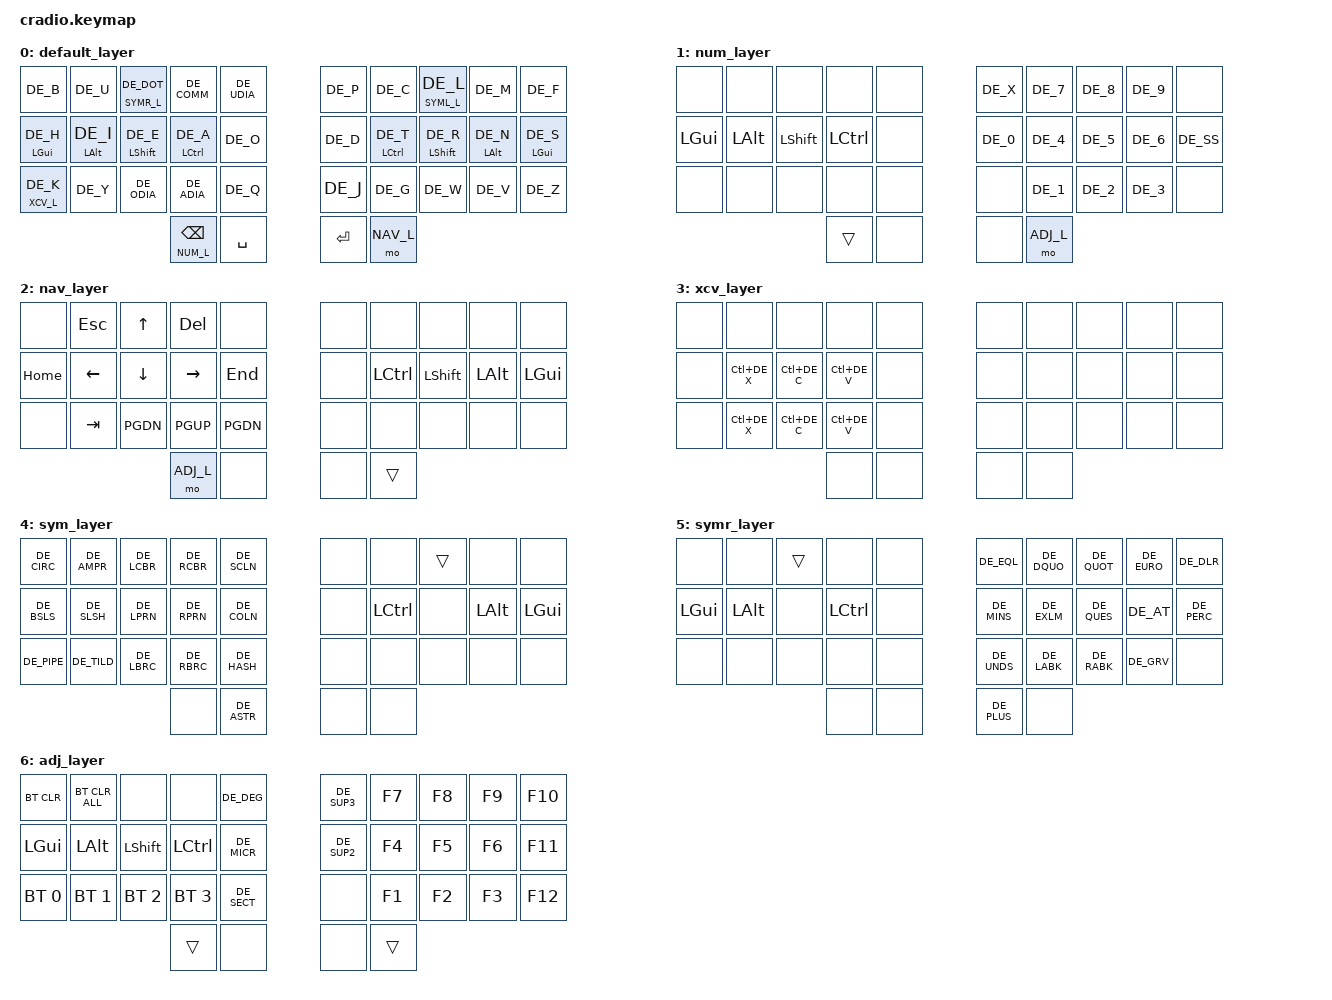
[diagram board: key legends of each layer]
/*
 * Copyright (c) 2023 Jan Titze
 *
 * SPDX-License-Identifier: MIT
 */

#include <behaviors.dtsi>
#include <dt-bindings/zmk/keys.h>
#include <dt-bindings/zmk/bt.h>

#include "./international/codes_german.h"

// Defines for readability
#define _______ &trans
#define XXXXXXX &none

// Defines for layers
#define BASE_L  0 //_BASE,
#define NUM_L   1 //_NUMBERS,
#define NAV_L   2 //_NAVIGATION
#define XCV_L   3 //_XCV
#define SYML_L  4 //_SYMBOLS Lefthand
#define SYMR_L  5 //_SYMBOLS Righthand
#define ADJ_L   6 //_ADJUST

// Defines for keypositions to enhance readability of combos
#define INDEX_L     13
#define MIDDLE_L    12
#define RING_L      11
#define PINKY_L     10
#define INDEX_R     16
#define MIDDLE_R    17
#define RING_R      18
#define PINKY_R     19

#define THUMB_1     30
#define THUMB_2     31
#define THUMB_3     32
#define THUMB_4     33

/*   34 KEY MATRIX / LAYOUT MAPPING
    ╭────────────────────┬────────────────────╮
    │  0   1   2   3   4 │  5   6   7   8   9 │
    │ 10  11  12  13  14 │ 15  16  17  18  19 │
    │ 20  21  22  23  24 │ 25  26  27  28  29 │
    ╰───────────╮ 30  31 │ 32  33 ╭───────────╯
                ╰────────┴────────╯             */

                
// Using layer taps on thumbs, having quick tap as well helps w/ repeating space/backspace
&lt { 
    quick_tap_ms = <200>; 
    tapping-term-ms = <150>;
    flavor = "balanced";
};

&sk {
    release-after-ms = <2000>;
    quick-release;
    /delete-property/ ignore-modifiers;
};

&mt {
    tapping-term-ms = <200>;
};

/ {
    combos {
        compatible = "zmk,combos";

        // &caps_word on shift keys
        combo_caps_word { 
            timeout-ms = <60>;
            key-positions = <2 7>;
            bindings = <&caps_word>;
            require-prior-idle-ms = <200>;
        };
    };

    behaviors {
        // https://zmk.dev/docs/behaviors/hold-tap#positional-hold-tap-and-hold-trigger-key-positions 
        // require-prior-idle-md = modifier kommen nur, wenn vorher eine kurze Pause ist.

        lts: layer_tap_with_long_idle { // layer tap instant
            compatible = "zmk,behavior-hold-tap";
            #binding-cells = <2>;
            flavor = "tap-preferred"; // 'hold-preferred', 'balanced', 'tap-preferred'
            tapping-term-ms = <300>;
            quick-tap-ms = <200>;
            require-prior-idle-ms = <350>;
            bindings = <&mo>, <&kp>;
        };
        stl: positional_shift_tap_left {
            compatible = "zmk,behavior-hold-tap";
            #binding-cells = <2>;
            flavor = "balanced"; // 'hold-preferred', 'balanced', 'tap-preferred'
            tapping-term-ms = <150>;
            quick-tap-ms = <200>;
            bindings = <&kp>, <&kp>;
            hold-trigger-key-positions = <5 6 7 8 9 15 16 17 18 19 25 26 27 28 29 32 33>;    // <---[[the righthand keys]]
        };
        str: positional_shift_tap_right {
            compatible = "zmk,behavior-hold-tap";
            #binding-cells = <2>;
            flavor = "balanced"; // 'hold-preferred', 'balanced', 'tap-preferred'
            tapping-term-ms = <150>;
            quick-tap-ms = <200>;
            bindings = <&kp>, <&kp>;
            hold-trigger-key-positions = <0 1 2 3 4 10 11 12 13 14 20 21 22 23 24 30 31>;    // <---[[the lefthand keys]]
        };
        mtl: positional_mod_tap_left {
            compatible = "zmk,behavior-hold-tap";
            #binding-cells = <2>;
            flavor = "balanced"; // 'hold-preferred', 'balanced', 'tap-preferred'
            tapping-term-ms = <180>;
            quick-tap-ms = <200>;
            require-prior-idle-ms = <120>;
            bindings = <&mo>, <&kp>;
            hold-trigger-key-positions = <5 6 7 8 9 15 16 17 18 19 25 26 27 28 29 32 33>;    // <---[[the righthand keys]]
        };
        mtr: positional_mod_tap_right {
            compatible = "zmk,behavior-hold-tap";
            #binding-cells = <2>;
            flavor = "balanced"; // 'hold-preferred', 'balanced', 'tap-preferred'
            tapping-term-ms = <180>;
            quick-tap-ms = <200>;
            require-prior-idle-ms = <120>;
            bindings = <&mo>, <&kp>;
            hold-trigger-key-positions = <0 1 2 3 4 10 11 12 13 14 20 21 22 23 24 30 31>;    // <---[[the lefthand keys]]
        };
        hml: positional_home_row_left {
            compatible = "zmk,behavior-hold-tap";
            #binding-cells = <2>;
            flavor = "balanced"; // 'hold-preferred', 'balanced', 'tap-preferred'
            tapping-term-ms = <200>;
            quick-tap-ms = <200>;
            require-prior-idle-ms = <120>;
            bindings = <&kp>, <&kp>;
            hold-trigger-key-positions = <5 6 7 8 9 15 16 17 18 19 25 26 27 28 29 32 33>;    // <---[[the righthand keys]]
        };
        hmr: positional_home_row_right {
            compatible = "zmk,behavior-hold-tap";
            #binding-cells = <2>;
            flavor = "balanced"; // 'hold-preferred', 'balanced', 'tap-preferred'
            tapping-term-ms = <200>;
            quick-tap-ms = <200>;
            require-prior-idle-ms = <120>;
            bindings = <&kp>, <&kp>;
            hold-trigger-key-positions = <0 1 2 3 4 10 11 12 13 14 20 21 22 23 24 30 31>;    // <---[[the lefthand keys]]
        };
        shl: slow_positional_home_row_left {
            compatible = "zmk,behavior-hold-tap";
            #binding-cells = <2>;
            flavor = "tap-preferred"; // 'hold-preferred', 'balanced', 'tap-preferred'
            tapping-term-ms = <250>;
            quick-tap-ms = <250>;
            require-prior-idle-ms = <120>;
            bindings = <&kp>, <&kp>;
            hold-trigger-key-positions = <5 6 7 8 9 15 16 17 18 19 25 26 27 28 29 32 33>;    // <---[[the righthand keys]]
        };
        shr: slow_positional_home_row_right {
            compatible = "zmk,behavior-hold-tap";
            #binding-cells = <2>;
            flavor = "tap-preferred"; // 'hold-preferred', 'balanced', 'tap-preferred'
            tapping-term-ms = <250>;
            quick-tap-ms = <250>;
            require-prior-idle-ms = <120>;
            bindings = <&kp>, <&kp>;
            hold-trigger-key-positions = <0 1 2 3 4 10 11 12 13 14 20 21 22 23 24 30 31>;    // <---[[the lefthand keys]]
        };
    };

    keymap {
        compatible = "zmk,keymap";

        default_layer {
            bindings = <
                &kp DE_B        &kp DE_U        &mtl SYMR_L DE_DOT  &kp DE_COMM      &kp DE_UDIA    &kp DE_P         &kp DE_C        &mtr SYML_L DE_L &kp DE_M        &kp DE_F
                &shl LGUI  DE_H &hml LALT DE_I  &stl LSHFT DE_E     &hml LCTRL DE_A  &kp DE_O       &kp DE_D         &hmr LCTRL DE_T &str LSHFT DE_R  &hmr LALT DE_N  &shr LGUI DE_S
                &lts XCV_L DE_K &kp DE_Y        &kp DE_ODIA         &kp DE_ADIA      &kp DE_Q       &kp DE_J         &kp DE_G        &kp DE_W         &kp DE_V        &kp DE_Z
                                                                    &lt NUM_L BSPC   &kp SPC        &kp ENTER        &mo NAV_L
            >;
        };

        num_layer {
            bindings = <
                XXXXXXX       XXXXXXX      XXXXXXX        XXXXXXX    XXXXXXX       &kp DE_X         &kp DE_7      &kp DE_8        &kp DE_9    XXXXXXX 
                &kp LGUI      &kp LALT     &kp LSHFT      &kp LCTRL  XXXXXXX       &kp DE_0         &kp DE_4      &kp DE_5        &kp DE_6    &kp DE_SS 
                XXXXXXX       XXXXXXX      XXXXXXX        XXXXXXX    XXXXXXX       XXXXXXX          &kp DE_1      &kp DE_2        &kp DE_3    XXXXXXX
                                                          _______    XXXXXXX       XXXXXXX          &mo ADJ_L
            >;
        };

        nav_layer {
            bindings = <
                XXXXXXX    &kp ESC    &kp UP         &kp DEL        XXXXXXX        XXXXXXX       XXXXXXX      XXXXXXX        XXXXXXX    XXXXXXX 
                &kp HOME   &kp LEFT   &kp DOWN       &kp RIGHT      &kp END        XXXXXXX       &kp LCTRL    &kp LSHFT      &kp LALT   &kp LGUI 
                XXXXXXX    &kp TAB    &kp PGDN       &kp PGUP       &kp PGDN       XXXXXXX       XXXXXXX      XXXXXXX        XXXXXXX    XXXXXXX
                                                     &mo ADJ_L      XXXXXXX        XXXXXXX       _______
            >;
        };

        xcv_layer {
            bindings = <
                XXXXXXX    XXXXXXX      XXXXXXX      XXXXXXX        XXXXXXX        XXXXXXX          XXXXXXX       XXXXXXX         XXXXXXX      XXXXXXX    
                XXXXXXX    &kp LC(DE_X) &kp LC(DE_C) &kp LC(DE_V)   XXXXXXX        XXXXXXX          XXXXXXX       XXXXXXX         XXXXXXX      XXXXXXX
                XXXXXXX    &kp LC(DE_X) &kp LC(DE_C) &kp LC(DE_V)   XXXXXXX        XXXXXXX          XXXXXXX       XXXXXXX         XXXXXXX      XXXXXXX
                                                     XXXXXXX        XXXXXXX        XXXXXXX          XXXXXXX
            >;
        };

        sym_layer {
            bindings = <
                &kp DE_CIRC &kp DE_AMPR &kp DE_LCBR &kp DE_RCBR &kp DE_SCLN     XXXXXXX       XXXXXXX      _______        XXXXXXX    XXXXXXX
                &kp DE_BSLS &kp DE_SLSH &kp DE_LPRN &kp DE_RPRN &kp DE_COLN     XXXXXXX       &kp LCTRL    XXXXXXX        &kp LALT   &kp LGUI 
                &kp DE_PIPE &kp DE_TILD &kp DE_LBRC &kp DE_RBRC &kp DE_HASH     XXXXXXX       XXXXXXX      XXXXXXX        XXXXXXX    XXXXXXX
                                                    XXXXXXX     &kp DE_ASTR     XXXXXXX       XXXXXXX   
            >;
        };

        symr_layer {
            bindings = <
                XXXXXXX       XXXXXXX      _______        XXXXXXX    XXXXXXX       &kp DE_EQL   &kp DE_DQUO  &kp DE_QUOT  &kp DE_EURO  &kp DE_DLR
                &kp LGUI      &kp LALT     XXXXXXX        &kp LCTRL  XXXXXXX       &kp DE_MINS  &kp DE_EXLM  &kp DE_QUES  &kp DE_AT    &kp DE_PERC
                XXXXXXX       XXXXXXX      XXXXXXX        XXXXXXX    XXXXXXX       &kp DE_UNDS  &kp DE_LABK  &kp DE_RABK  &kp DE_GRV   XXXXXXX
                                                          XXXXXXX    XXXXXXX       &kp DE_PLUS  XXXXXXX
            >;
        };

        adj_layer {
            bindings = <
                &bt BT_CLR   &bt BT_CLR_ALL  XXXXXXX      XXXXXXX      &kp DE_DEG      &kp DE_SUP3   &kp F7        &kp F8          &kp F9       &kp F10   
                &kp LGUI     &kp LALT        &kp LSHFT    &kp LCTRL    &kp DE_MICR     &kp DE_SUP2   &kp F4        &kp F5          &kp F6       &kp F11
                &bt BT_SEL 0 &bt BT_SEL 1    &bt BT_SEL 2 &bt BT_SEL 3 &kp DE_SECT     XXXXXXX       &kp F1        &kp F2          &kp F3       &kp F12
                                                          _______      XXXXXXX         XXXXXXX       _______
            >;
        };
    };
};
